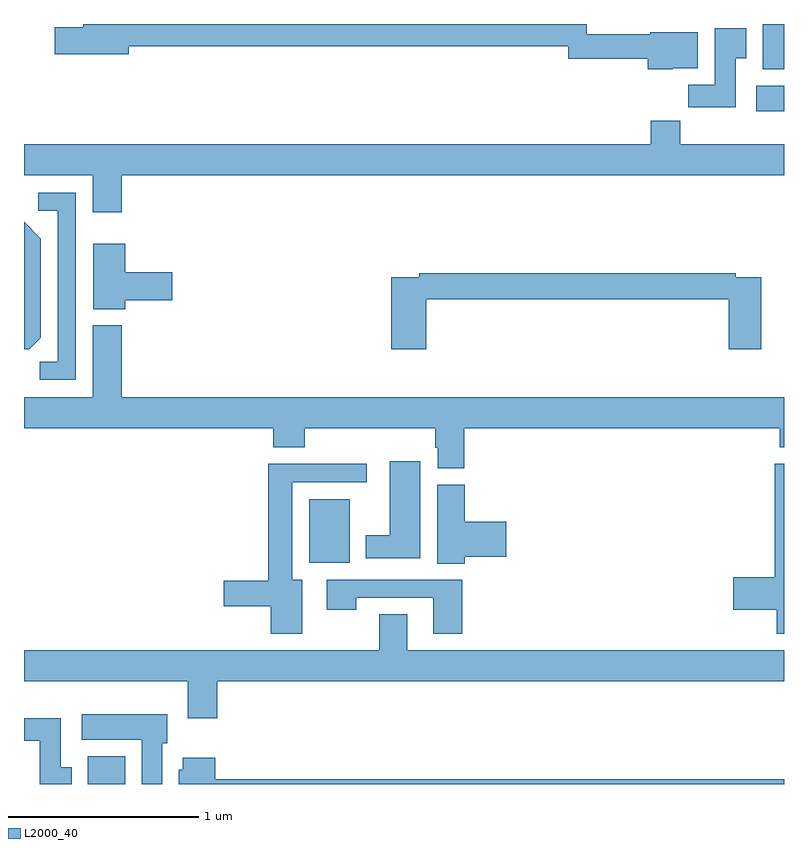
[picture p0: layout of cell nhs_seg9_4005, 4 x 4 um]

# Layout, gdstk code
import gdstk
lib = gdstk.Library(unit=1e-6, precision=1e-09)
def R(c, l, rs):  # rectangles x0, y0, x1, y1
    for r in rs: c.add(gdstk.rectangle(r[:2], r[2:], *l))
def P(c, l, *ps):  # polygons
    for p in ps: c.add(gdstk.Polygon(p, *l))
L2000_40 = (2000, 40)

nhs_seg9_4005 = lib.new_cell('nhs_seg9_4005')
R(nhs_seg9_4005, L2000_40, [(339.335,1242.5,339.532,1242.646), (340.502,1243.664,340.714,1243.999), (342.855,1246.04,343,1246.174), (342.887,1246.262,343,1246.5)])
P(nhs_seg9_4005, L2000_40, [(342.414,1246.268),(342.547,1246.268),(342.547,1246.456),(342.296,1246.456),(342.296,1246.445),(341.961,1246.445),(341.961,1246.5),(339.311,1246.5),(339.311,1246.484),(339.162,1246.484),(339.162,1246.342),(339.55,1246.342),(339.55,1246.384),(341.865,1246.384),(341.865,1246.317),(342.284,1246.317),(342.284,1246.262),(342.414,1246.262)],
  [(342.745,1246.321),(342.802,1246.321),(342.802,1246.477),(342.635,1246.477),(342.635,1246.18),(342.496,1246.18),(342.496,1246.062),(342.745,1246.062)],
  [(339.515,1245.704),(343,1245.704),(343,1245.868),(342.455,1245.868),(342.455,1245.992),(342.299,1245.992),(342.299,1245.868),(339,1245.868),(339,1245.704),(339.362,1245.704),(339.362,1245.51),(339.515,1245.51)],
  [(339.273,1245.612),(339.075,1245.612),(339.075,1245.516),(339.177,1245.516),(339.177,1244.723),(339.082,1244.723),(339.082,1244.628),(339.273,1244.628)],
  [(339.087,1244.848),(339.087,1245.37),(339,1245.458),(339,1244.789),(339.028,1244.789)],
  [(339.532,1245.047),(339.781,1245.047),(339.781,1245.194),(339.532,1245.194),(339.532,1245.343),(339.365,1245.343),(339.365,1244.999),(339.532,1244.999)],
  [(341.117,1245.052),(342.71,1245.052),(342.71,1244.787),(342.88,1244.787),(342.88,1245.168),(342.746,1245.168),(342.746,1245.188),(341.08,1245.188),(341.08,1245.168),(340.934,1245.168),(340.934,1244.787),(341.117,1244.787)],
  [(341.318,1244.372),(342.977,1244.372),(342.977,1244.273),(343,1244.273),(343,1244.536),(339.515,1244.536),(339.515,1244.914),(339.362,1244.914),(339.362,1244.536),(339,1244.536),(339,1244.372),(340.313,1244.372),(340.313,1244.273),(340.478,1244.273),(340.478,1244.372),(341.165,1244.372),(341.165,1244.271),(341.177,1244.271),(341.177,1244.161),(341.318,1244.161)],
  [(341.086,1244.2),(340.925,1244.2),(340.925,1243.81),(340.799,1243.81),(340.799,1243.688),(341.086,1243.688)],
  [(343,1244.186),(342.95,1244.186),(342.95,1243.589),(342.732,1243.589),(342.732,1243.418),(342.962,1243.418),(342.962,1243.29),(343,1243.29)],
  [(340.465,1243.576),(340.411,1243.576),(340.411,1244.088),(340.804,1244.088),(340.804,1244.186),(340.286,1244.186),(340.286,1243.571),(340.05,1243.571),(340.05,1243.436),(340.298,1243.436),(340.298,1243.29),(340.465,1243.29)],
  [(341.321,1243.697),(341.539,1243.697),(341.539,1243.88),(341.321,1243.88),(341.321,1244.076),(341.174,1244.076),(341.174,1243.66),(341.321,1243.66)],
  [(341.306,1243.575),(340.593,1243.575),(340.593,1243.416),(340.749,1243.416),(340.749,1243.479),(341.153,1243.479),(341.153,1243.29),(341.306,1243.29)],
  [(340.016,1243.04),(343,1243.04),(343,1243.204),(341.017,1243.204),(341.017,1243.394),(340.87,1243.394),(340.87,1243.204),(339,1243.204),(339,1243.04),(339.863,1243.04),(339.863,1242.846),(340.016,1242.846)],
  [(339.727,1242.714),(339.754,1242.714),(339.754,1242.868),(339.303,1242.868),(339.303,1242.734),(339.62,1242.734),(339.62,1242.5),(339.727,1242.5)],
  [(339.25,1242.588),(339.193,1242.588),(339.193,1242.847),(339,1242.847),(339,1242.728),(339.083,1242.728),(339.083,1242.5),(339.25,1242.5)],
  [(343,1242.524),(340.007,1242.524),(340.007,1242.637),(339.836,1242.637),(339.836,1242.576),(339.815,1242.576),(339.815,1242.5),(343,1242.5)])

lib.write_gds('nhs_seg9_4005.gds')
